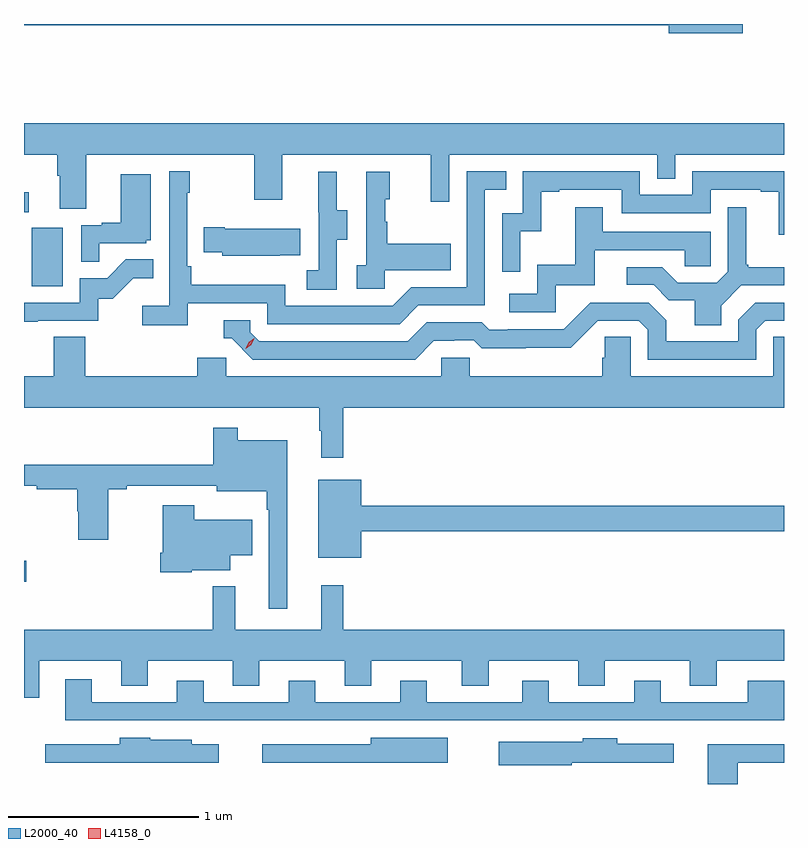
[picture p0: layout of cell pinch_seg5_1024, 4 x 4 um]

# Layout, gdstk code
import gdstk
lib = gdstk.Library(unit=1e-6, precision=1e-09)
def R(c, l, rs):  # rectangles x0, y0, x1, y1
    for r in rs: c.add(gdstk.rectangle(r[:2], r[2:], *l))
def P(c, l, *ps):  # polygons
    for p in ps: c.add(gdstk.Polygon(p, *l))
L2000_40 = (2000, 40)
L4158_0 = (4158, 0)

pinch_seg5_1024 = lib.new_cell('pinch_seg5_1024')
R(pinch_seg5_1024, L2000_40, [(875.458,857.175,875.471,857.287), (875.498,858.732,875.662,859.039), (875.458,859.119,875.482,859.225)])
P(pinch_seg5_1024, L2000_40, [(879.241,860.111),(875.458,860.111),(875.458,860.104),(878.852,860.104),(878.852,860.062),(879.241,860.062)],
  [(875.785,859.424),(876.67,859.424),(876.67,859.185),(876.817,859.185),(876.817,859.424),(877.598,859.424),(877.598,859.176),(877.695,859.176),(877.695,859.424),(878.79,859.424),(878.79,859.297),(878.886,859.297),(878.886,859.424),(879.458,859.424),(879.458,859.588),(875.458,859.588),(875.458,859.424),(875.633,859.424),(875.633,859.312),(875.645,859.312),(875.645,859.138),(875.785,859.138)],
  [(876.32,858.642),(876.738,858.642),(876.738,858.531),(877.435,858.531),(877.534,858.63),(877.884,858.63),(877.884,859.239),(877.997,859.239),(877.997,859.335),(877.788,859.335),(877.788,858.726),(877.497,858.726),(877.398,858.627),(876.834,858.627),(876.834,858.739),(876.338,858.739),(876.338,858.835),(876.318,858.835),(876.318,859.223),(876.331,859.223),(876.331,859.336),(876.222,859.336),(876.222,858.628),(876.081,858.628),(876.081,858.526),(876.32,858.526)],
  [(878.07,859.019),(878.18,859.019),(878.18,859.227),(878.275,859.227),(878.275,859.239),(878.604,859.239),(878.604,859.116),(879.072,859.116),(879.072,859.239),(879.335,859.239),(879.335,859.227),(879.431,859.227),(879.431,859.001),(879.458,859.001),(879.458,859.335),(878.976,859.335),(878.976,859.212),(878.7,859.212),(878.7,859.335),(878.082,859.335),(878.082,859.116),(877.974,859.116),(877.974,858.807),(878.07,858.807)],
  [(877.356,858.815),(877.703,858.815),(877.703,858.955),(877.369,858.955),(877.369,859.07),(877.359,859.07),(877.359,859.188),(877.384,859.188),(877.384,859.333),(877.26,859.333),(877.26,858.842),(877.209,858.842),(877.209,858.717),(877.356,858.717)],
  [(877.104,858.976),(877.159,858.976),(877.159,859.131),(877.105,859.131),(877.105,859.333),(877.007,859.333),(877.007,859.119),(877.008,859.119),(877.008,858.815),(876.945,858.815),(876.945,858.712),(877.104,858.712)],
  [(875.855,858.957),(876.102,858.957),(876.102,858.972),(876.124,858.972),(876.124,859.321),(875.966,859.321),(875.966,859.066),(875.867,859.066),(875.867,859.053),(875.76,859.053),(875.76,858.859),(875.855,858.859)],
  [(878.256,858.735),(878.461,858.735),(878.461,858.921),(878.935,858.921),(878.935,858.837),(879.072,858.837),(879.072,859.017),(878.503,859.017),(878.503,859.147),(878.359,859.147),(878.359,858.844),(878.16,858.844),(878.16,858.69),(878.013,858.69),(878.013,858.594),(878.256,858.594)],
  [(879.127,858.628),(879.234,858.735),(879.458,858.735),(879.458,858.832),(879.271,858.832),(879.271,858.844),(879.259,858.844),(879.259,859.147),(879.162,859.147),(879.162,858.807),(879.105,858.75),(878.899,858.75),(878.818,858.831),(878.631,858.831),(878.631,858.738),(878.772,858.738),(878.852,858.658),(878.987,858.658),(878.987,858.526),(879.127,858.526)],
  [(876.803,858.893),(876.911,858.893),(876.911,859.033),(876.514,859.033),(876.514,859.041),(876.403,859.041),(876.403,858.911),(876.501,858.911),(876.501,858.89),(876.803,858.89)],
  [(875.531,858.549),(875.85,858.549),(875.85,858.666),(875.926,858.666),(876.033,858.773),(876.137,858.773),(876.137,858.872),(875.993,858.872),(875.895,858.774),(875.751,858.774),(875.751,858.645),(875.458,858.645),(875.458,858.544),(875.531,858.544)],
  [(877.615,858.444),(877.722,858.444),(877.722,858.447),(877.825,858.447),(877.867,858.405),(878.1,858.405),(878.1,858.407),(878.336,858.407),(878.478,858.549),(878.694,858.549),(878.742,858.501),(878.742,858.345),(879.312,858.345),(879.312,858.501),(879.36,858.549),(879.458,858.549),(879.458,858.645),(879.306,858.645),(879.216,858.555),(879.216,858.441),(878.839,858.441),(878.839,858.551),(878.745,858.645),(878.439,858.645),(878.298,858.504),(878.005,858.504),(878.005,858.501),(877.906,858.501),(877.867,858.54),(877.578,858.54),(877.479,858.441),(876.696,858.441),(876.648,858.489),(876.648,858.552),(876.509,858.552),(876.509,858.456),(876.552,858.456),(876.663,858.345),(877.516,858.345)],
  [(877.139,858.092),(879.458,858.092),(879.458,858.464),(879.402,858.464),(879.402,858.256),(878.652,858.256),(878.652,858.464),(878.515,858.464),(878.515,858.354),(878.501,858.354),(878.501,858.256),(877.803,858.256),(877.803,858.354),(877.653,858.354),(877.653,858.256),(876.522,858.256),(876.522,858.354),(876.371,858.354),(876.371,858.256),(875.78,858.256),(875.78,858.464),(875.615,858.464),(875.615,858.256),(875.458,858.256),(875.458,858.092),(877.011,858.092),(877.011,857.969),(877.022,857.969),(877.022,857.829),(877.139,857.829)],
  [(876.844,857.92),(876.583,857.92),(876.583,857.986),(876.454,857.986),(876.454,857.791),(875.458,857.791),(875.458,857.682),(875.524,857.682),(875.524,857.662),(875.737,857.662),(875.737,857.547),(875.744,857.547),(875.744,857.397),(875.902,857.397),(875.902,857.662),(875.998,857.662),(875.998,857.682),(876.473,857.682),(876.473,857.651),(876.735,857.651),(876.735,857.555),(876.747,857.555),(876.747,857.034),(876.844,857.034)],
  [(877.234,857.44),(879.458,857.44),(879.458,857.576),(877.234,857.576),(877.234,857.713),(877.007,857.713),(877.007,857.303),(877.234,857.303)],
  [(876.342,857.237),(876.544,857.237),(876.544,857.315),(876.658,857.315),(876.658,857.503),(876.354,857.503),(876.354,857.578),(876.188,857.578),(876.188,857.329),(876.176,857.329),(876.176,857.225),(876.342,857.225)],
  [(875.539,856.76),(875.969,856.76),(875.969,856.627),(876.109,856.627),(876.109,856.76),(876.557,856.76),(876.557,856.627),(876.697,856.627),(876.697,856.76),(877.145,856.76),(877.145,856.627),(877.285,856.627),(877.285,856.76),(877.763,856.76),(877.763,856.627),(877.903,856.627),(877.903,856.76),(878.375,856.76),(878.375,856.627),(878.515,856.627),(878.515,856.76),(878.963,856.76),(878.963,856.627),(879.103,856.627),(879.103,856.76),(879.458,856.76),(879.458,856.924),(877.139,856.924),(877.139,857.158),(877.022,857.158),(877.022,856.924),(876.569,856.924),(876.569,857.152),(876.451,857.152),(876.451,856.924),(875.458,856.924),(875.458,856.566),(875.539,856.566)],
  [(879.458,856.654),(879.266,856.654),(879.266,856.542),(878.809,856.542),(878.809,856.654),(878.669,856.654),(878.669,856.542),(878.221,856.542),(878.221,856.654),(878.081,856.654),(878.081,856.542),(877.579,856.542),(877.579,856.654),(877.439,856.654),(877.439,856.542),(876.991,856.542),(876.991,856.654),(876.851,856.654),(876.851,856.542),(876.403,856.542),(876.403,856.654),(876.263,856.654),(876.263,856.542),(875.815,856.542),(875.815,856.663),(875.675,856.663),(875.675,856.446),(879.458,856.446)],
  [(877.687,856.354),(877.283,856.354),(877.283,856.32),(876.711,856.32),(876.711,856.223),(877.687,856.223)],
  [(876.484,856.32),(876.342,856.32),(876.342,856.345),(876.123,856.345),(876.123,856.354),(875.963,856.354),(875.963,856.32),(875.571,856.32),(875.571,856.223),(876.484,856.223)],
  [(878.34,856.223),(878.878,856.223),(878.878,856.324),(878.58,856.324),(878.58,856.351),(878.4,856.351),(878.4,856.333),(877.956,856.333),(877.956,856.211),(878.34,856.211)],
  [(879.214,856.223),(879.422,856.223),(879.422,856.224),(879.458,856.224),(879.458,856.32),(879.056,856.32),(879.056,856.111),(879.214,856.111)])
P(pinch_seg5_1024, L4158_0, [(876.624,858.403),(876.624,858.403),(876.64,858.436),(876.671,858.456),(876.671,858.456),(876.671,858.456),(876.655,858.423),(876.624,858.403)])

lib.write_gds('pinch_seg5_1024.gds')
